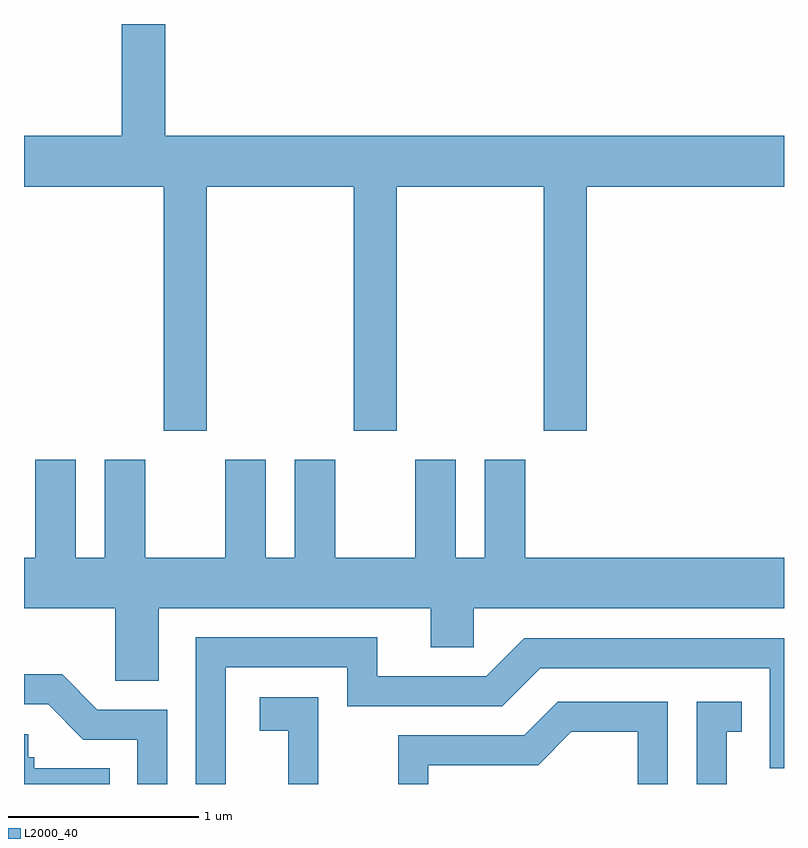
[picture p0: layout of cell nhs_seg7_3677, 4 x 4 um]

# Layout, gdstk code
import gdstk
lib = gdstk.Library(unit=1e-6, precision=1e-09)
def P(c, l, *ps):  # polygons
    for p in ps: c.add(gdstk.Polygon(p, *l))
L2000_40 = (2000, 40)

nhs_seg7_3677 = lib.new_cell('nhs_seg7_3677')
P(nhs_seg7_3677, L2000_40, [(298.574,1745.396),(299.346,1745.396),(299.346,1744.111),(299.574,1744.111),(299.574,1745.396),(300.346,1745.396),(300.346,1744.111),(300.574,1744.111),(300.574,1745.396),(301.611,1745.396),(301.611,1745.664),(298.354,1745.664),(298.354,1746.252),(298.126,1746.252),(298.126,1745.664),(297.611,1745.664),(297.611,1745.396),(298.346,1745.396),(298.346,1744.111),(298.574,1744.111)],
  [(298.319,1743.176),(299.751,1743.176),(299.751,1742.971),(299.979,1742.971),(299.979,1743.176),(301.611,1743.176),(301.611,1743.444),(300.249,1743.444),(300.249,1743.959),(300.036,1743.959),(300.036,1743.444),(299.884,1743.444),(299.884,1743.959),(299.671,1743.959),(299.671,1743.444),(299.249,1743.444),(299.249,1743.959),(299.036,1743.959),(299.036,1743.444),(298.884,1743.444),(298.884,1743.959),(298.671,1743.959),(298.671,1743.444),(298.249,1743.444),(298.249,1743.959),(298.036,1743.959),(298.036,1743.444),(297.884,1743.444),(297.884,1743.959),(297.671,1743.959),(297.671,1743.444),(297.611,1743.444),(297.611,1743.176),(298.091,1743.176),(298.091,1742.796),(298.319,1742.796)],
  [(298.674,1742.866),(299.311,1742.866),(299.311,1742.661),(300.127,1742.661),(300.327,1742.861),(301.536,1742.861),(301.536,1742.336),(301.611,1742.336),(301.611,1743.019),(300.244,1743.019),(300.044,1742.819),(299.469,1742.819),(299.469,1743.024),(298.516,1743.024),(298.516,1742.252),(298.674,1742.252)],
  [(298.364,1742.644),(297.997,1742.644),(297.812,1742.829),(297.611,1742.829),(297.611,1742.671),(297.739,1742.671),(297.924,1742.486),(298.206,1742.486),(298.206,1742.252),(298.364,1742.252)],
  [(299.159,1742.709),(298.851,1742.709),(298.851,1742.531),(299.001,1742.531),(299.001,1742.252),(299.159,1742.252)],
  [(299.739,1742.351),(300.317,1742.351),(300.492,1742.526),(300.841,1742.526),(300.841,1742.252),(300.999,1742.252),(300.999,1742.684),(300.419,1742.684),(300.244,1742.509),(299.581,1742.509),(299.581,1742.252),(299.739,1742.252)],
  [(301.309,1742.526),(301.388,1742.526),(301.388,1742.684),(301.151,1742.684),(301.151,1742.252),(301.309,1742.252)],
  [(298.063,1742.334),(297.664,1742.334),(297.664,1742.394),(297.634,1742.394),(297.634,1742.514),(297.611,1742.514),(297.611,1742.252),(298.063,1742.252)])

lib.write_gds('nhs_seg7_3677.gds')
